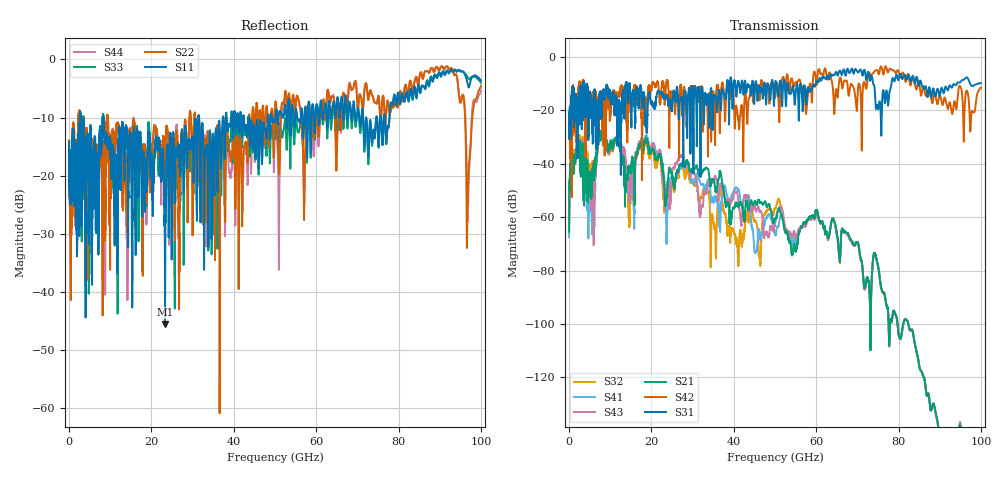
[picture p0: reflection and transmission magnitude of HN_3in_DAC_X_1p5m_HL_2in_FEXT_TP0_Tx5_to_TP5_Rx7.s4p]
# GHz S RI R 45
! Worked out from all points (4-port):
!   4000 points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, 25 MHz to 100 GHz, reference 45 ohm
!   strongest paths, dB at 25 MHz, 25.02 GHz, 50.02 GHz, 75.03 GHz, 100 GHz:
!     S31: -20.8, -20.1, -10.1, -19.6, -9.9
!     S42: -20.8, -16.2, -15.1, -5.7, -11.5
!     S21: -65.4, -43.8, -60.6, -78.3, -191.8
!     S43: -62.4, -42.6, -62.3, -78.2, -199.8
!     S41: -67.5, -44.7, -66.2, -78.2, -197.6
!     S32: -62.3, -47.4, -56.7, -78.3, -193.9
!   lowest |S11| = -45.6 dB at 23.3 GHz (marker M1), VSWR 1.01, Z = 44.8 - j0.441 ohm
!   |S11| at or under -10 dB: 2.878 GHz to 8.172 GHz (5.294 GHz wide, 95.8 % of centre); 8.307 GHz to 31.39 GHz (23.09 GHz wide, 116 % of centre); 31.58 GHz to 37.34 GHz (5.765 GHz wide, 16.7 % of centre) (the widest 3 of 46)
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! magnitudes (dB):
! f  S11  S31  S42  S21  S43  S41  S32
! 25 MHz  -14.2  -20.8  -20.8  -65.4  -62.4  -67.5  -62.3
! 2.025 GHz  -20.9  -28.8  -18.1  -32.7  -30.9  -33.0  -30.4
! 8.3 GHz  -9.8  -13.3  -19.1  -29.8  -30.6  -30.3  -29.8
! 23.3 GHz  -45.6  -14.7  -17.8  -54.3  -57.4  -49.5  -54.9
! 91.72 GHz  -1.9  -11.9  -18.2  -155.6  -156.6  -156.5  -155.7
! 96.88 GHz  -4.5  -8.1  -14.0  -163.2  -186.9  -186.3  -164.0
! 100 GHz  -3.6  -9.9  -11.5  -191.8  -199.8  -197.6  -193.9
